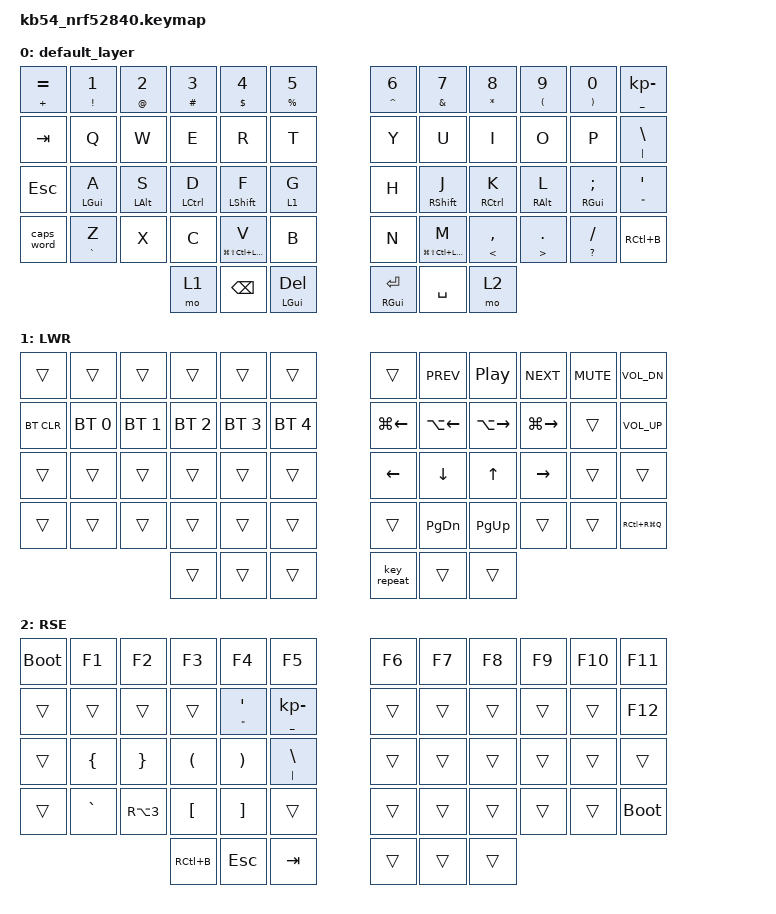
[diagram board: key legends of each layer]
/*
 * Copyright (c) 2020 The ZMK Contributors
 *
 * SPDX-License-Identifier: MIT
 */

#include <behaviors.dtsi>
#include <dt-bindings/zmk/bt.h>
#include <dt-bindings/zmk/keys.h>

#define HYPER LG(LS(LC(LALT)))

&mt { tapping-term-ms = <150>; };

/ {
    behaviors {
        ht: hold_tap_kp_kp {
            compatible = "zmk,behavior-hold-tap";
            label = "HOLD_TAP_KP_KP";
            bindings = <&kp>, <&kp>;

            #binding-cells = <2>;
            tapping-term-ms = <250>;
            flavor = "balanced";
        };

        rp: require_prior_idle {
            compatible = "zmk,behavior-hold-tap";
            #binding-cells = <2>;
            flavor = "tap-preferred";
            tapping-term-ms = <150>;
            quick-tap-ms = <200>;
            require-prior-idle-ms = <125>;
            bindings = <&kp>, <&kp>;
        };

        rps: rp-slow {
            compatible = "zmk,behavior-hold-tap";
            #binding-cells = <2>;
            flavor = "tap-preferred";
            tapping-term-ms = <250>;
            quick-tap-ms = <300>;
            require-prior-idle-ms = <300>;
            bindings = <&kp>, <&kp>;

            label = "SLOW";
        };
    };

    // Key positions?
    // -----------------------------------------------------------------------------------------
    // | 0   |  1   |  2   |  3   |  4   |  5   |   |  6   |  7    |  8   |  9   |  10  |  11  |
    // | 12  |  13  |  14  |  15  |  16  |  17  |   |  18  |  19   |  20  |  21  |  22  |  23  |
    // | 24  |  25  |  26  |  27  |  28  |  29  |   |  30  |  31   |  32  |  33  |  34  |  35  |
    // | 36  |  37  |  38  |  39  |  40  |  41  |   |  42  |  43   |  44  |  45  |  46  |  47  |
    //                     |  48  |  49  |  50  |   |  51  |  52   |  53  |

    keymap {
        compatible = "zmk,keymap";

        default_layer {
            // -----------------------------------------------------------------------------------------
            // | =+   |  1  |  2  |  3  |  4  |  5  |   |  6  |  7   |  8  |  9  |  0  |  -_    |
            // | TAB  |  Q  |  W  |  E  |  R  |  T  |   |  Y  |  U   |  I  |  O  |  P  |  \     |
            // | ESC  |  A  |  S  |  D  |  F  |  G  |   |  H  |  J   |  K  |  L  |  ;  |  '     |
            // | CAPS |  Z  |  X  |  C  |  V  |  B  |   |  N  |  M   |  ,  |  .  |  /  | CTRL+B (for tmux)
            //                    | LWR | BSP | DEL |   | ENT | SPC  | RSE |

            bindings = <
&ht PLUS EQUAL  &ht EXCL N1  &ht AT N2   &ht HASH N3  &ht DLLR N4     &ht PRCNT N5    &ht CARET N6  &ht AMPS N7   &ht STAR N8   &ht LPAR N9  &ht RPAR N0     &ht UNDER KP_MINUS
&kp TAB         &kp Q        &kp W       &kp E        &kp R           &kp T           &kp Y         &kp U         &kp I         &kp O        &kp P           &ht PIPE BSLH
&kp ESC         &rps LGUI A  &rp LALT S  &rp LCTRL D  &rp LSHFT F     &lt 1 G         &kp H         &rp RSHFT J   &rp RCTRL K   &rp RALT L   &rps RGUI SEMI  &ht DQT SQT
&caps_word      &ht GRAVE Z  &kp X       &kp C        &rps HYPER V    &kp B           &kp N         &rps HYPER M  &ht LT COMMA  &ht GT DOT   &ht QMARK FSLH  &kp RC(B)
                                         &mo 1        &kp BSPC        &mt LGUI DEL    &mt RGUI RET  &kp SPACE     &mo 2
            >;
        };

        lower_layer {
            display-name = "LWR";
            label = "LWR";

            // NEW LWR
            // -----------------------------------------------------------------------------------------
            // |      |  1  |  2  |  3  |  4  |  5  |   |  6      |  PRV    |  P/P    |  NXT    |  MUT  | VOL- |
            // | BTCLR| BT1 | BT2 | BT3 | BT4 | BT5 |   | LG(LFT) | LA(LFT) | LA(RGT) | LG(RGT) |       | VOL+ |
            // |      |     |     |     |     |     |   | LFT     | DWN     |  UP     | RGT     |       |      |
            // |      |     |     |     |     |     |   |         | PG_DN   |  PG_UP  |         |       |      |
            //                    |  X  |     |     |   |         |         |         |

            bindings = <
&trans      &trans        &trans        &trans        &trans        &trans          &trans        &kp C_PREV    &kp C_PP       &kp C_NEXT     &kp C_MUTE  &kp C_VOL_DN
&bt BT_CLR  &bt BT_SEL 0  &bt BT_SEL 1  &bt BT_SEL 2  &bt BT_SEL 3  &bt BT_SEL 4    &kp LG(LEFT)  &kp LA(LEFT)  &kp LA(RIGHT)  &kp LG(RIGHT)  &trans      &kp C_VOL_UP
&trans      &trans        &trans        &trans        &trans        &trans          &kp LEFT      &kp DOWN      &kp UP         &kp RIGHT      &trans      &trans
&trans      &trans        &trans        &trans        &trans        &trans          &trans        &kp PG_DN     &kp PG_UP      &trans         &trans      &kp RC(RG(Q))
                                        &trans        &trans        &trans          &key_repeat   &trans        &trans
            >;
        };

        raise_layer {
            display-name = "RSE";
            label = "RSE";

            // -----------------------------------------------------------------------------------------
            // | RST  | F1  | F2  | F3  | F4  | F5  |   | F6  | F7  | F8  | F9  | F10 |  F11 |
            // |      |     |     |     |  '  |  -  |   |     |     |     |     |     |  F12 |
            // |      |  {  |  }  |  (  |  )  |  |  |   |     |     |     |     |     |      |
            // |      |  `  |  #  |  [  |  ]  |     |   |     |     |     |     |     |  RST |
            //                    |     |     |     |   |     |     |  X  |

            bindings = <
&bootloader  &kp F1     &kp F2     &kp F3     &kp F4       &kp F5                &kp F6  &kp F7  &kp F8  &kp F9  &kp F10  &kp F11
&trans       &trans     &trans     &trans     &ht DQT SQT  &ht UNDER KP_MINUS    &trans  &trans  &trans  &trans  &trans   &kp F12
&trans       &kp LBRC   &kp RBRC   &kp LPAR   &kp RPAR     &ht PIPE BSLH         &trans  &trans  &trans  &trans  &trans   &trans
&trans       &kp GRAVE  &kp RA(N3) &kp LBKT   &kp RBKT    &trans                &trans  &trans  &trans  &trans  &trans   &bootloader
                                   &kp RC(B)  &kp ESC      &kp TAB               &trans  &trans  &trans
            >;
        };
    };
};
